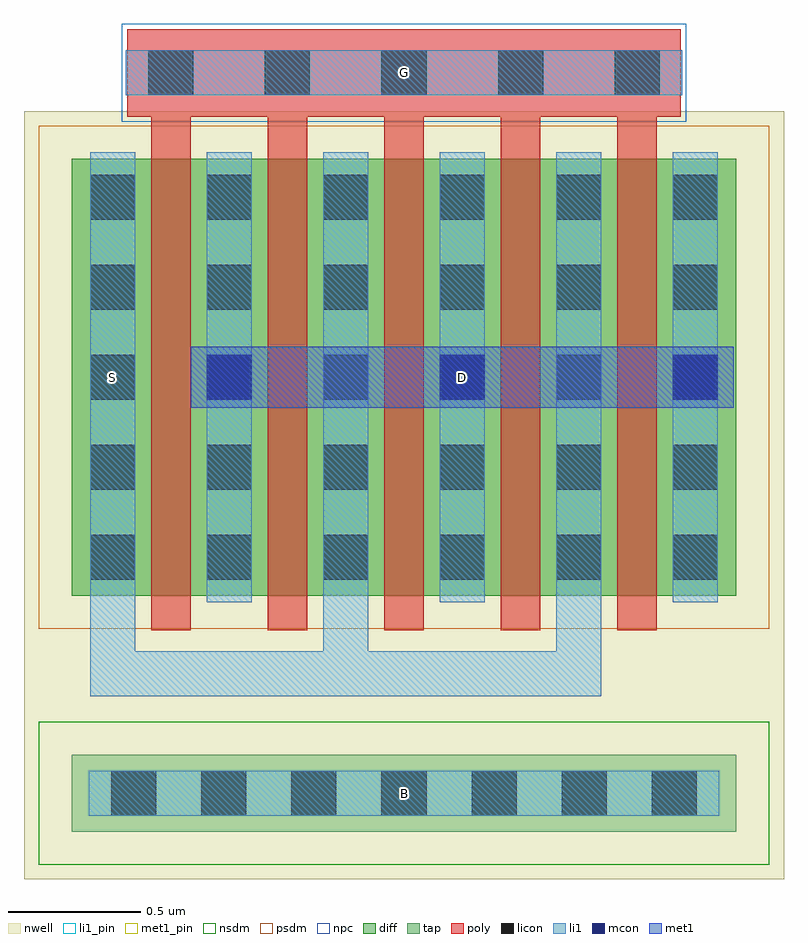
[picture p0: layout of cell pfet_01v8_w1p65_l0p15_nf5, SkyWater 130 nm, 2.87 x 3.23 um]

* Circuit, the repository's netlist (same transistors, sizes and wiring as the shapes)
.SUBCKT pfet_01v8_w1p65_l0p15_nf5 D G S B
M0 D G S B pfet_01v8 w=1.65 l=0.15
M1 D G S B pfet_01v8 w=1.65 l=0.15
M2 D G S B pfet_01v8 w=1.65 l=0.15
M3 D G S B pfet_01v8 w=1.65 l=0.15
M4 D G S B pfet_01v8 w=1.65 l=0.15
.ENDS

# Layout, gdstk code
import gdstk
lib = gdstk.Library(unit=1e-6, precision=1e-09)
def R(c, l, rs):  # rectangles x0, y0, x1, y1
    for r in rs: c.add(gdstk.rectangle(r[:2], r[2:], *l))
def A(c, l, x, y, w, h, nx, ny, dx, dy):  # array of equal rectangles
    R(c, l, [(x+i*dx, y+j*dy, x+i*dx+w, y+j*dy+h) for i in range(nx) for j in range(ny)])
nwell = (64, 20)
diff = (65, 20)
tap = (65, 44)
poly = (66, 20)
licon = (66, 44)
li1_pin = (67, 16)
li1 = (67, 20)
mcon = (67, 44)
met1_pin = (68, 16)
met1 = (68, 20)
nsdm = (93, 44)
psdm = (94, 20)
npc = (95, 20)

pfet_01v8_w1p65_l0p15_nf = lib.new_cell('pfet_01v8_w1p65_l0p15_nf5')
R(pfet_01v8_w1p65_l0p15_nf, nwell, [(-0.18,-1.07,2.69,1.83)])
R(pfet_01v8_w1p65_l0p15_nf, diff, [(0,0,2.51,1.65)])
R(pfet_01v8_w1p65_l0p15_nf, tap, [(0,-0.89,2.51,-0.6)])
A(pfet_01v8_w1p65_l0p15_nf, poly, 0.3, -0.13, 0.15, 1.94, 5, 1, 0.44, 0)
R(pfet_01v8_w1p65_l0p15_nf, poly, [(0.21,1.81,2.3,2.14)])
A(pfet_01v8_w1p65_l0p15_nf, licon, 0.15, -0.83, 0.17, 0.17, 7, 1, 0.34, 0)
A(pfet_01v8_w1p65_l0p15_nf, licon, 0.07, 0.06, 0.17, 0.17, 6, 5, 0.44, 0.34)
A(pfet_01v8_w1p65_l0p15_nf, licon, 0.29, 1.89, 0.17, 0.17, 5, 1, 0.44, 0)
R(pfet_01v8_w1p65_l0p15_nf, li1_pin, [(1.25,-0.75,1.26,-0.74), (0.15,0.82,0.16,0.83), (1.25,1.97,1.26,1.98)])
A(pfet_01v8_w1p65_l0p15_nf, li1, 0.07, -0.38, 0.17, 2.055, 3, 1, 0.88, 0)
A(pfet_01v8_w1p65_l0p15_nf, li1, 0.51, -0.025, 0.17, 1.7, 3, 1, 0.88, 0)
R(pfet_01v8_w1p65_l0p15_nf, li1, [(0.065,-0.83,2.445,-0.66), (0.07,-0.38,2,-0.21), (0.205,1.89,2.305,2.06)])
A(pfet_01v8_w1p65_l0p15_nf, mcon, 0.51, 0.74, 0.17, 0.17, 3, 1, 0.88, 0)
R(pfet_01v8_w1p65_l0p15_nf, met1_pin, [(1.47,0.82,1.48,0.83)])
R(pfet_01v8_w1p65_l0p15_nf, met1, [(0.45,0.71,2.5,0.94)])
R(pfet_01v8_w1p65_l0p15_nf, nsdm, [(-0.125,-1.015,2.635,-0.475)])
R(pfet_01v8_w1p65_l0p15_nf, psdm, [(-0.125,-0.125,2.635,1.775)])
R(pfet_01v8_w1p65_l0p15_nf, npc, [(0.19,1.79,2.32,2.16)])
pfet_01v8_w1p65_l0p15_nf.add(gdstk.Label('G', (1.255,1.975), layer=67, texttype=5))
pfet_01v8_w1p65_l0p15_nf.add(gdstk.Label('B', (1.255,-0.745), layer=67, texttype=5))
pfet_01v8_w1p65_l0p15_nf.add(gdstk.Label('S', (0.155,0.825), layer=67, texttype=5))
pfet_01v8_w1p65_l0p15_nf.add(gdstk.Label('D', (1.475,0.825), layer=68, texttype=5))

lib.write_gds('pfet_01v8_w1p65_l0p15_nf5.gds')
